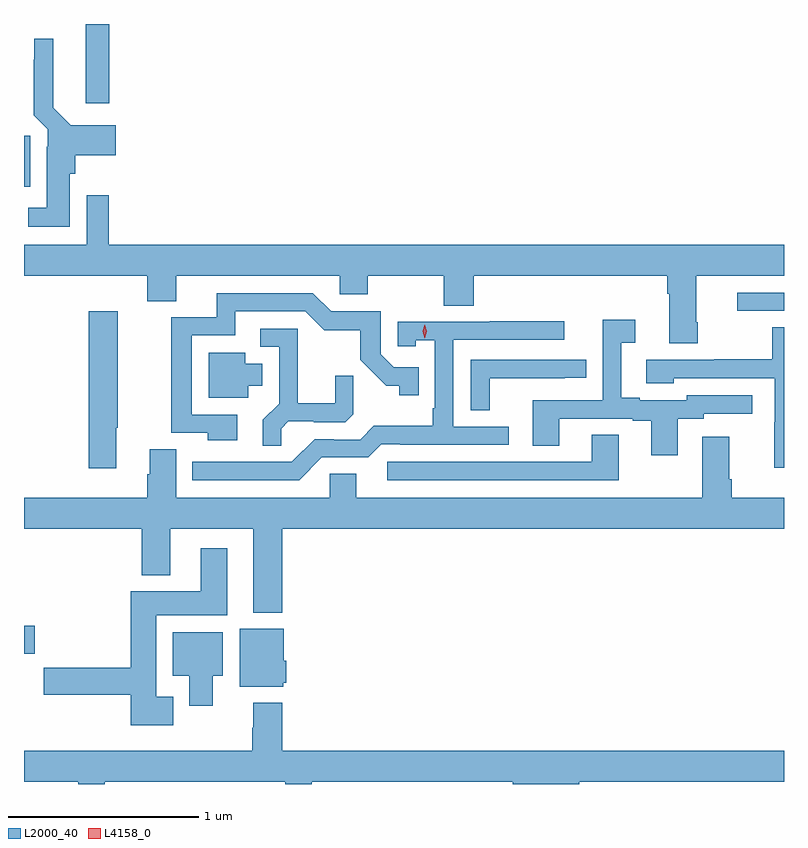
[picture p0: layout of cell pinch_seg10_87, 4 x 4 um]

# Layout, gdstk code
import gdstk
lib = gdstk.Library(unit=1e-6, precision=1e-09)
def R(c, l, rs):  # rectangles x0, y0, x1, y1
    for r in rs: c.add(gdstk.rectangle(r[:2], r[2:], *l))
def P(c, l, *ps):  # polygons
    for p in ps: c.add(gdstk.Polygon(p, *l))
L2000_40 = (2000, 40)
L4158_0 = (4158, 0)

pinch_seg10_87 = lib.new_cell('pinch_seg10_87')
R(pinch_seg10_87, L2000_40, [(732.664,1291.667,732.721,1291.814), (736.419,1293.471,736.664,1293.567), (732.664,1294.125,732.697,1294.393), (732.989,1294.563,733.112,1294.981)])
P(pinch_seg10_87, L2000_40, [(732.904,1294.194),(732.935,1294.194),(732.935,1294.289),(733.147,1294.289),(733.147,1294.447),(732.909,1294.447),(732.817,1294.54),(732.817,1294.903),(732.719,1294.903),(732.719,1294.793),(732.715,1294.793),(732.715,1294.502),(732.789,1294.428),(732.789,1294.334),(732.785,1294.334),(732.785,1294.015),(732.687,1294.015),(732.687,1293.914),(732.904,1293.914)],
  [(736.209,1293.412),(736.201,1293.412),(736.201,1293.656),(736.664,1293.656),(736.664,1293.82),(733.109,1293.82),(733.109,1294.081),(732.993,1294.081),(732.993,1293.82),(732.664,1293.82),(732.664,1293.656),(733.313,1293.656),(733.313,1293.523),(733.465,1293.523),(733.465,1293.656),(734.325,1293.656),(734.325,1293.558),(734.472,1293.558),(734.472,1293.656),(734.872,1293.656),(734.872,1293.499),(735.032,1293.499),(735.032,1293.656),(736.049,1293.656),(736.049,1293.56),(736.061,1293.56),(736.061,1293.3),(736.209,1293.3)],
  [(733.786,1292.925),(733.548,1292.925),(733.548,1293.342),(733.777,1293.342),(733.777,1293.468),(734.145,1293.468),(734.244,1293.37),(734.433,1293.37),(734.433,1293.214),(734.57,1293.077),(734.64,1293.077),(734.64,1293.027),(734.741,1293.027),(734.741,1293.174),(734.61,1293.174),(734.541,1293.243),(734.541,1293.468),(734.28,1293.468),(734.184,1293.564),(733.679,1293.564),(733.679,1293.438),(733.44,1293.438),(733.44,1292.829),(733.63,1292.829),(733.63,1292.789),(733.786,1292.789)],
  [(733.15,1292.855),(733.158,1292.855),(733.158,1293.469),(733.004,1293.469),(733.004,1292.643),(733.15,1292.643)],
  [(736.105,1292.904),(736.242,1292.904),(736.242,1292.931),(736.498,1292.931),(736.498,1293.027),(736.152,1293.027),(736.152,1293),(735.904,1293),(735.904,1293.013),(735.808,1293.013),(735.808,1293.304),(735.88,1293.304),(735.88,1293.424),(735.711,1293.424),(735.711,1293),(735.341,1293),(735.341,1292.761),(735.481,1292.761),(735.481,1292.904),(735.869,1292.904),(735.869,1292.892),(735.965,1292.892),(735.965,1292.712),(736.105,1292.712)],
  [(734.232,1292.7),(734.475,1292.7),(734.544,1292.769),(734.644,1292.769),(734.644,1292.766),(735.214,1292.766),(735.214,1292.862),(734.922,1292.862),(734.922,1293.318),(735.508,1293.318),(735.508,1293.417),(735.115,1293.417),(735.115,1293.414),(734.631,1293.414),(734.631,1293.285),(734.727,1293.285),(734.727,1293.317),(734.826,1293.317),(734.826,1292.959),(734.814,1292.959),(734.814,1292.866),(734.506,1292.866),(734.433,1292.793),(734.294,1292.793),(734.294,1292.796),(734.193,1292.796),(734.073,1292.676),(733.55,1292.676),(733.55,1292.58),(734.112,1292.58)],
  [(736.664,1293.386),(736.602,1293.386),(736.602,1293.216),(736.297,1293.216),(736.297,1293.213),(735.939,1293.213),(735.939,1293.089),(736.083,1293.089),(736.083,1293.117),(736.614,1293.117),(736.614,1292.885),(736.612,1292.885),(736.612,1292.645),(736.664,1292.645)],
  [(734.019,1292.852),(734.056,1292.889),(734.19,1292.889),(734.19,1292.886),(734.355,1292.886),(734.396,1292.927),(734.396,1293.129),(734.302,1293.129),(734.302,1292.986),(734.105,1292.986),(734.105,1293.378),(733.908,1293.378),(733.908,1293.282),(734.007,1293.282),(734.007,1292.983),(733.921,1292.897),(733.921,1292.761),(734.019,1292.761)],
  [(733.843,1293.077),(733.918,1293.077),(733.918,1293.193),(733.828,1293.193),(733.828,1293.25),(733.637,1293.25),(733.637,1293.014),(733.843,1293.014)],
  [(735.114,1293.117),(735.509,1293.117),(735.509,1293.118),(735.622,1293.118),(735.622,1293.213),(735.015,1293.213),(735.015,1292.947),(735.114,1292.947)],
  [(735.793,1292.819),(735.653,1292.819),(735.653,1292.676),(734.577,1292.676),(734.577,1292.58),(735.793,1292.58)],
  [(734.024,1292.324),(736.664,1292.324),(736.664,1292.488),(736.388,1292.488),(736.388,1292.584),(736.375,1292.584),(736.375,1292.809),(736.235,1292.809),(736.235,1292.488),(734.413,1292.488),(734.413,1292.615),(734.274,1292.615),(734.274,1292.488),(733.465,1292.488),(733.465,1292.744),(733.325,1292.744),(733.325,1292.61),(733.313,1292.61),(733.313,1292.488),(732.664,1292.488),(732.664,1292.324),(733.283,1292.324),(733.283,1292.081),(733.435,1292.081),(733.435,1292.324),(733.871,1292.324),(733.871,1291.883),(734.024,1291.883)],
  [(733.45,1291.441),(733.36,1291.441),(733.36,1291.868),(733.735,1291.868),(733.735,1292.221),(733.595,1292.221),(733.595,1291.996),(733.226,1291.996),(733.226,1291.592),(732.768,1291.592),(732.768,1291.45),(733.226,1291.45),(733.226,1291.289),(733.45,1291.289)],
  [(734.028,1291.515),(734.044,1291.515),(734.044,1291.629),(734.032,1291.629),(734.032,1291.798),(733.799,1291.798),(733.799,1291.493),(734.028,1291.493)],
  [(733.657,1291.55),(733.711,1291.55),(733.711,1291.78),(733.448,1291.78),(733.448,1291.55),(733.535,1291.55),(733.535,1291.392),(733.657,1291.392)],
  [(733.089,1290.992),(734.039,1290.992),(734.039,1290.981),(734.179,1290.981),(734.179,1290.992),(735.236,1290.992),(735.236,1290.981),(735.586,1290.981),(735.586,1290.992),(736.664,1290.992),(736.664,1291.156),(734.024,1291.156),(734.024,1291.408),(733.871,1291.408),(733.871,1291.277),(733.864,1291.277),(733.864,1291.156),(732.664,1291.156),(732.664,1290.992),(732.95,1290.992),(732.95,1290.981),(733.089,1290.981)])
P(pinch_seg10_87, L4158_0, [(734.773,1293.327),(734.773,1293.327),(734.763,1293.363),(734.773,1293.399),(734.773,1293.399),(734.773,1293.399),(734.783,1293.363),(734.773,1293.327)])

lib.write_gds('pinch_seg10_87.gds')
